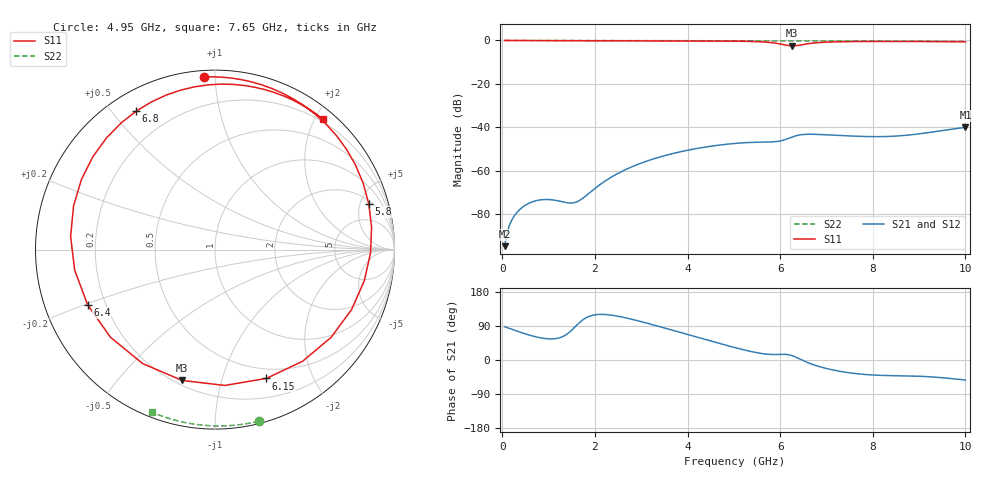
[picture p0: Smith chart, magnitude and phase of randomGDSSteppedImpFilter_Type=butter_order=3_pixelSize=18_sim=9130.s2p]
! freq	dB(S11)	phase(S11)	dB(S12)	phase(S12)
!  dB(S21)	phase(S21)	dB(S22)	phase(S22)
!S-par simulation data
#  GHz  S  DB  R 50
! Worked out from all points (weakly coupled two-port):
!   200 points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, 50 MHz to 10 GHz, reference 50 ohm
!   highest |S21| = -40.06 dB at 10 GHz (marker M1); lowest = -94.9 dB at 50 MHz (marker M2)
!   lowest |S11| = -2.5 dB at 6.25 GHz (marker M3), VSWR 7.05, Z = 11.3 - j37.7 ohm
!   |S11| at or under -10 dB: nowhere
!   |S22| runs from -0.5 to 0.0 dB; largest |S21 - S12| = 0
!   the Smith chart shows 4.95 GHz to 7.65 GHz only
!   S11 on the Smith chart (normalised r, x): 4.95 GHz: 0.03, +0.94; 5.8 GHz: 2.35, +5.96; 6.15 GHz: 0.39, -1.40; 6.4 GHz: 0.13, -0.20; 6.8 GHz: 0.08, +0.58; 7.65 GHz: 0.16, +2.11
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0.05  -0.00 -3.7  -94.87 87.8  -94.87 87.8  -0.00 -0.8
0.9  -0.08 -63.5  -73.36 57.0  -73.36 57.0  -0.02 -14.6
1.75  -0.12 -114.2  -72.59 107.0  -72.59 107.0  -0.04 -28.1
2.55  -0.15 -154.1  -60.73 114.2  -60.73 114.2  -0.05 -40.5
3.4  -0.18 168.0  -53.75 88.0  -53.75 88.0  -0.07 -53.4
4.2  -0.22 132.3  -49.82 60.4  -49.82 60.4  -0.09 -65.1
4.95  -0.32 93.8  -47.63 35.1  -47.63 35.1  -0.11 -75.7
5.05  -0.34 87.7  -47.44 31.9  -47.44 31.9  -0.12 -77.1
5.5  -0.55 53.4  -46.93 19.2  -46.93 19.2  -0.14 -83.3
5.8  -0.97 16.6  -46.81 14.6  -46.81 14.6  -0.15 -87.3
6  -1.61 -23.7  -46.36 14.9  -46.36 14.9  -0.16 -90.0
6.15  -2.24 -68.3  -45.39 14.5  -45.39 14.5  -0.16 -92.0
6.25  -2.48 -104.1  -44.57 11.7  -44.57 11.7  -0.17 -93.3
6.4  -2.23 -156.6  -43.65 4.1  -43.65 4.1  -0.18 -95.3
6.55  -1.67 162.9  -43.29 -4.4  -43.29 -4.4  -0.18 -97.3
6.7  -1.23 134.2  -43.26 -11.6  -43.26 -11.6  -0.19 -99.2
6.8  -1.03 119.6  -43.32 -15.7  -43.32 -15.7  -0.20 -100.5
7.15  -0.67 83.8  -43.67 -26.6  -43.67 -26.6  -0.22 -105.0
7.65  -0.50 50.6  -44.17 -36.1  -44.17 -36.1  -0.25 -111.4
8.35  -0.46 15.8  -44.26 -41.1  -44.26 -41.1  -0.31 -120.1
9.1  -0.49 -15.3  -42.80 -43.4  -42.80 -43.4  -0.38 -129.3
10  -0.62 -48.9  -40.06 -52.9  -40.06 -52.9  -0.47 -140.3
